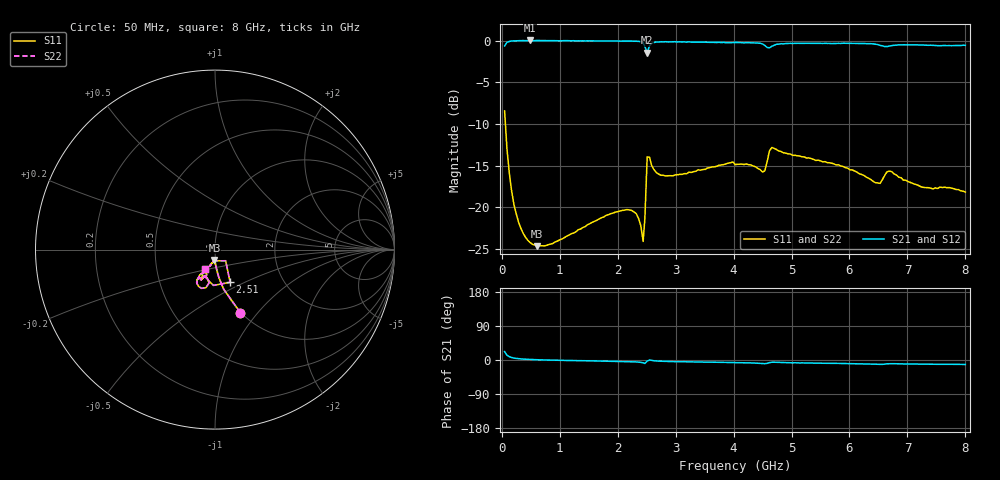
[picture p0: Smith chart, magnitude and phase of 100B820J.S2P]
!  American Technical Ceramics  Date:  3/13/98
!  One Norden Lane
!  Huntington Station,  NY.  11746-2102
!  Tel:  (516) 547-5700  Fax:  (516) 547-5748
!  Part Number  100b820j
!  Description: Porcelain, High Q, Low ESR
!  Application: Bypass, Coupling, Timing, Feedback
!  Tuning, Impedance Match, Blocking
# GHZ S DB R 50
! Freq  |S11|  S11 Ph  |S21|  S21 Ph  |S12|  S12 Ph  |S22|  S22 Ph
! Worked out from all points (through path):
!   201 points, 50 MHz to 8 GHz, reference 50 ohm
!   highest |S21| = 0.01 dB at 490 MHz (marker M1); lowest = -1.4 dB at 2.51 GHz (marker M2)
!   group delay of S21, straight-line fit = 5.17 ps
!   lowest |S11| = -24.6 dB at 610 MHz (marker M3), VSWR 1.12, Z = 49.4 - j5.79 ohm
!   |S11| at or under -10 dB: 63.9 MHz to end of sweep
!   |S22| runs from -24.6 to -8.4 dB; largest |S21 - S12| = 0
!   S11 on the Smith chart (normalised r, x): 50 MHz: 1.00, -0.82; 2.51 GHz: 1.10, -0.42; 8 GHz: 0.87, -0.20
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0.05  -8.44 -68.0  -0.65 22.1  -0.65 22.1  -8.44 -68.0
0.13  -15.82 -81.8  -0.11 8.9  -0.11 8.9  -15.82 -81.8
0.21  -19.62 -85.9  -0.04 5.2  -0.04 5.2  -19.62 -85.9
0.33  -22.49 -88.8  -0.01 3.0  -0.01 3.0  -22.49 -88.8
0.49  -24.21 -91.5  0.01 1.5  0.01 1.5  -24.21 -91.5
0.61  -24.65 -93.0  0.00 0.7  0.00 0.7  -24.65 -93.0
1.4  -22.41 -101.4  -0.03 -1.9  -0.03 -1.9  -22.41 -101.4
2.24  -20.36 -107.8  -0.06 -4.6  -0.06 -4.6  -20.36 -107.8
2.36  -21.31 -106.7  -0.10 -5.6  -0.10 -5.6  -21.31 -106.7
2.44  -24.08 -90.0  -0.25 -7.4  -0.25 -7.4  -24.08 -90.0
2.47  -21.32 -46.3  -0.71 -9.1  -0.71 -9.1  -21.32 -46.3
2.51  -13.95 -65.2  -1.45 -2.9  -1.45 -2.9  -13.95 -65.2
2.59  -15.04 -101.5  -0.33 -1.1  -0.33 -1.1  -15.04 -101.5
2.71  -16.02 -107.8  -0.18 -3.0  -0.18 -3.0  -16.02 -107.8
4.03  -14.89 -116.5  -0.23 -6.9  -0.23 -6.9  -14.89 -116.5
4.5  -15.76 -111.4  -0.41 -9.4  -0.41 -9.4  -15.76 -111.4
4.66  -12.82 -109.1  -0.69 -6.0  -0.69 -6.0  -12.82 -109.1
5.38  -14.25 -120.8  -0.34 -8.3  -0.34 -8.3  -14.25 -120.8
6.45  -17.04 -115.4  -0.44 -11.1  -0.44 -11.1  -17.04 -115.4
6.69  -15.66 -112.6  -0.66 -9.8  -0.66 -9.8  -15.66 -112.6
7.24  -17.55 -115.4  -0.53 -11.1  -0.53 -11.1  -17.55 -115.4
8  -18.16 -116.8  -0.57 -11.8  -0.57 -11.8  -18.16 -116.8
